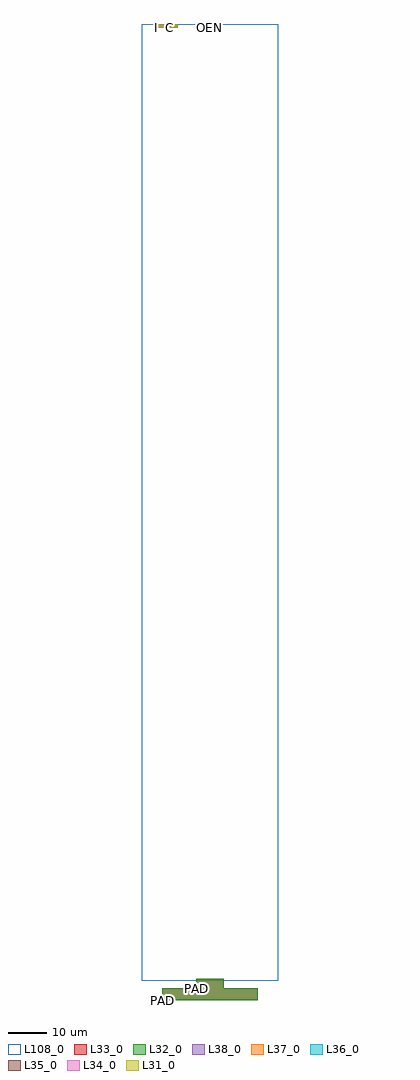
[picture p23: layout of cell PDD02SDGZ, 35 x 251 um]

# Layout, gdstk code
import gdstk
lib = gdstk.Library(unit=1e-6, precision=1e-09)
def R(c, l, rs):  # rectangles x0, y0, x1, y1
    for r in rs: c.add(gdstk.rectangle(r[:2], r[2:], *l))
L31_0 = (31, 0)
L32_0 = (32, 0)
L33_0 = (33, 0)
L34_0 = (34, 0)
L35_0 = (35, 0)
L36_0 = (36, 0)
L37_0 = (37, 0)
L38_0 = (38, 0)
L108_0 = (108, 0)

pdd02sdgz = lib.new_cell('PDD02SDGZ')
R(pdd02sdgz, L31_0, [(3.69,245,5.69,246), (7.175,245,9.175,246), (17.295,245,19.295,246)])
R(pdd02sdgz, L32_0, [(5.28,-5,29.72,-2), (13.94,-2,21.06,0.5), (3.69,245,5.69,246), (7.175,245,9.175,246), (17.295,245,19.295,246)])
R(pdd02sdgz, L33_0, [(5.28,-5,29.72,-2), (13.94,-2,21.06,0.5), (3.69,245,5.69,246), (7.175,245,9.175,246), (17.295,245,19.295,246)])
R(pdd02sdgz, L34_0, [(3.69,245,5.69,246), (7.175,245,9.175,246), (17.295,245,19.295,246)])
R(pdd02sdgz, L35_0, [(3.69,245,5.69,246), (7.175,245,9.175,246), (17.295,245,19.295,246)])
R(pdd02sdgz, L36_0, [(3.69,245,5.69,246), (7.175,245,9.175,246), (17.295,245,19.295,246)])
R(pdd02sdgz, L37_0, [(3.69,245,5.69,246), (7.175,245,9.175,246), (17.295,245,19.295,246)])
R(pdd02sdgz, L38_0, [(3.69,245,5.69,246), (7.175,245,9.175,246), (17.295,245,19.295,246)])
R(pdd02sdgz, L108_0, [(0,0,35,246)])
pdd02sdgz.add(gdstk.Label('PAD', (5.28,-5), layer=133, texttype=0))
pdd02sdgz.add(gdstk.Label('PAD', (13.94,-2), layer=133, texttype=0))
pdd02sdgz.add(gdstk.Label('PAD', (5.28,-5), layer=132, texttype=0))
pdd02sdgz.add(gdstk.Label('PAD', (13.94,-2), layer=132, texttype=0))
pdd02sdgz.add(gdstk.Label('OEN', (17.295,245), layer=138, texttype=0))
pdd02sdgz.add(gdstk.Label('OEN', (17.295,245), layer=137, texttype=0))
pdd02sdgz.add(gdstk.Label('OEN', (17.295,245), layer=136, texttype=0))
pdd02sdgz.add(gdstk.Label('OEN', (17.295,245), layer=135, texttype=0))
pdd02sdgz.add(gdstk.Label('OEN', (17.295,245), layer=134, texttype=0))
pdd02sdgz.add(gdstk.Label('OEN', (17.295,245), layer=133, texttype=0))
pdd02sdgz.add(gdstk.Label('OEN', (17.295,245), layer=132, texttype=0))
pdd02sdgz.add(gdstk.Label('OEN', (17.295,245), layer=131, texttype=0))
pdd02sdgz.add(gdstk.Label('I', (3.69,245), layer=138, texttype=0))
pdd02sdgz.add(gdstk.Label('I', (3.69,245), layer=137, texttype=0))
pdd02sdgz.add(gdstk.Label('I', (3.69,245), layer=136, texttype=0))
pdd02sdgz.add(gdstk.Label('I', (3.69,245), layer=135, texttype=0))
pdd02sdgz.add(gdstk.Label('I', (3.69,245), layer=134, texttype=0))
pdd02sdgz.add(gdstk.Label('I', (3.69,245), layer=133, texttype=0))
pdd02sdgz.add(gdstk.Label('I', (3.69,245), layer=132, texttype=0))
pdd02sdgz.add(gdstk.Label('I', (3.69,245), layer=131, texttype=0))
pdd02sdgz.add(gdstk.Label('C', (7.175,245), layer=138, texttype=0))
pdd02sdgz.add(gdstk.Label('C', (7.175,245), layer=137, texttype=0))
pdd02sdgz.add(gdstk.Label('C', (7.175,245), layer=136, texttype=0))
pdd02sdgz.add(gdstk.Label('C', (7.175,245), layer=135, texttype=0))
pdd02sdgz.add(gdstk.Label('C', (7.175,245), layer=134, texttype=0))
pdd02sdgz.add(gdstk.Label('C', (7.175,245), layer=133, texttype=0))
pdd02sdgz.add(gdstk.Label('C', (7.175,245), layer=132, texttype=0))
pdd02sdgz.add(gdstk.Label('C', (7.175,245), layer=131, texttype=0))

lib.write_gds('PDD02SDGZ.gds')
